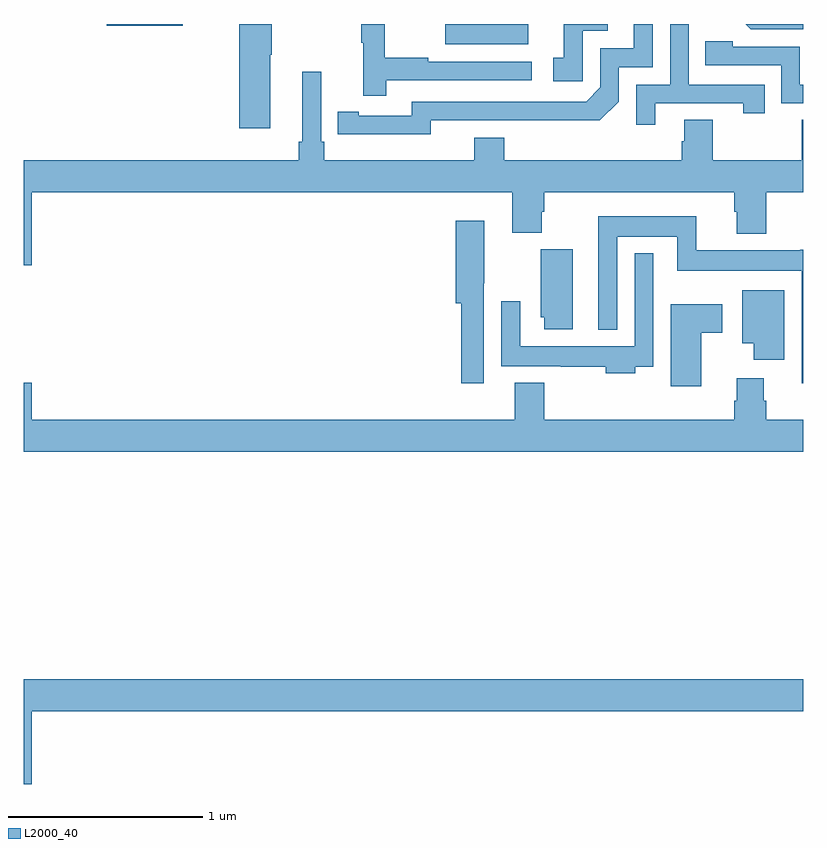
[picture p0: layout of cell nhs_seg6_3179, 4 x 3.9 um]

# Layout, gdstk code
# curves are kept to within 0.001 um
import gdstk
lib = gdstk.Library(unit=1e-6, precision=1e-09)
def R(c, l, rs):  # rectangles x0, y0, x1, y1
    for r in rs: c.add(gdstk.rectangle(r[:2], r[2:], *l))
def P(c, l, *ps):  # polygons
    for p in ps: c.add(gdstk.Polygon(p, *l))
L2000_40 = (2000, 40)

nhs_seg6_3179 = lib.new_cell('nhs_seg6_3179')
R(nhs_seg6_3179, L2000_40, [(297.426,981.491,297.814,981.5)])
P(nhs_seg6_3179, L2000_40, [(298.264,981.343),(298.272,981.343),(298.272,981.5),(298.106,981.5),(298.106,980.964),(298.264,980.964)],
  [(299.868,981.465),(299.997,981.465),(299.997,981.5),(299.771,981.5),(299.771,981.327),(299.718,981.327),(299.718,981.207),(299.868,981.207)],
  [(299.088,981.006),(299.956,981.005),(300.054,981.102),(300.054,981.279),(300.228,981.279),(300.228,981.5),(300.131,981.5),(300.131,981.375),(299.958,981.375),(299.958,981.174),(299.886,981.102),(298.992,981.102),(298.992,981.03),(298.72,981.03),(298.72,981.05),(298.612,981.05),(298.612,980.934),(299.088,980.933)],
  [(298.859,981.21),(299.608,981.21),(299.608,981.306),(299.075,981.306),(299.075,981.326),(298.852,981.326),(298.852,981.5),(298.731,981.5),(298.731,981.403),(298.742,981.403),(298.742,981.132),(298.859,981.132)],
  [(301,981.5),(300.706,981.5),(300.732,981.474),(301,981.474)],
  [(300.241,981.093),(300.692,981.093),(300.692,981.042),(300.803,981.042),(300.803,981.189),(300.414,981.189),(300.414,981.5),(300.318,981.5),(300.318,981.189),(300.144,981.189),(300.144,980.982),(300.241,980.982)],
  [(299.59,981.5),(299.306,981.5),(299.306,981.499),(299.163,981.499),(299.163,981.395),(299.59,981.395)],
  [(301,981.189),(300.984,981.189),(300.984,981.384),(300.639,981.384),(300.639,981.411),(300.499,981.411),(300.499,981.288),(300.888,981.288),(300.888,981.093),(301,981.093)],
  [(297.04,980.636),(299.507,980.636),(299.507,980.428),(299.659,980.428),(299.659,980.537),(299.672,980.537),(299.672,980.636),(300.647,980.636),(300.647,980.535),(300.659,980.535),(300.659,980.423),(300.812,980.423),(300.812,980.636),(301,980.636),(301,981.008),(300.994,981.008),(300.994,980.8),(300.537,980.8),(300.537,981.008),(300.389,981.008),(300.389,980.898),(300.377,980.898),(300.377,980.8),(299.465,980.8),(299.465,980.917),(299.312,980.917),(299.312,980.8),(298.541,980.8),(298.541,980.896),(298.527,980.896),(298.527,981.256),(298.43,981.256),(298.43,980.896),(298.411,980.896),(298.411,980.8),(297,980.8),(297,980.262),(297.04,980.262)],
  [(301,980.341),(300.986,980.341),(300.986,980.338),(300.452,980.338),(300.452,980.512),(299.948,980.512),(299.948,979.931),(300.045,979.931),(300.045,980.408),(300.354,980.408),(300.354,980.234),(300.993,980.234),(300.993,979.656),(301,979.656)],
  [(299.361,980.17),(299.362,980.17),(299.362,980.491),(299.216,980.491),(299.216,980.066),(299.245,980.066),(299.245,979.656),(299.361,979.656)],
  [(299.818,980.343),(299.654,980.343),(299.654,979.995),(299.672,979.995),(299.672,979.932),(299.818,979.932)],
  [(300.139,979.74),(300.231,979.74),(300.231,980.323),(300.135,980.323),(300.135,979.846),(299.547,979.846),(299.547,980.077),(299.451,980.077),(299.451,979.742),(299.755,979.742),(299.755,979.74),(299.987,979.74),(299.987,979.706),(300.139,979.706)],
  [(300.904,980.134),(300.689,980.134),(300.689,979.862),(300.746,979.862),(300.746,979.776),(300.904,979.776)],
  [(300.478,979.915),(300.586,979.915),(300.586,980.062),(300.32,980.062),(300.32,979.64),(300.478,979.64)],
  [(301,979.468),(300.812,979.468),(300.812,979.566),(300.799,979.566),(300.799,979.681),(300.659,979.681),(300.659,979.566),(300.647,979.566),(300.647,979.468),(299.672,979.468),(299.672,979.657),(299.519,979.657),(299.519,979.468),(297.04,979.468),(297.04,979.657),(297,979.657),(297,979.304),(301,979.304)],
  [(297.04,977.972),(301,977.972),(301,978.136),(297,978.136),(297,977.598),(297.04,977.598)])

lib.write_gds('nhs_seg6_3179.gds')
